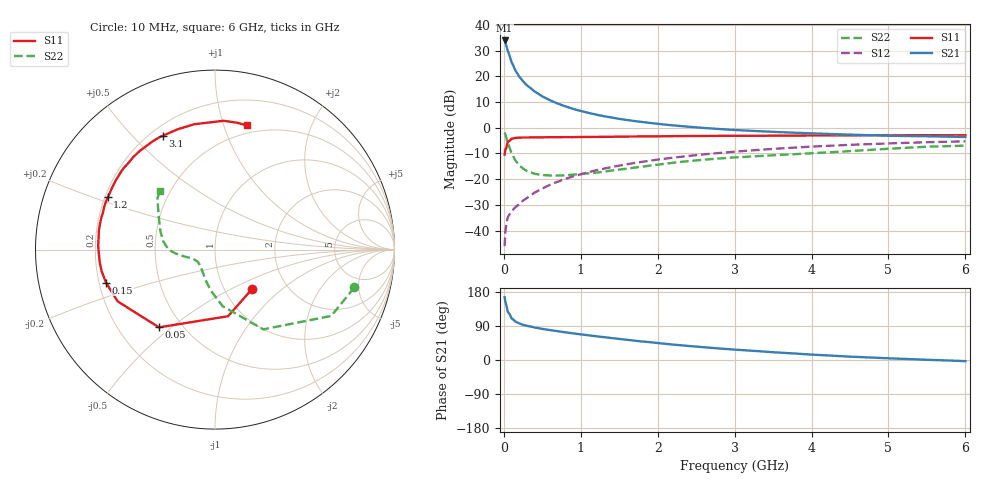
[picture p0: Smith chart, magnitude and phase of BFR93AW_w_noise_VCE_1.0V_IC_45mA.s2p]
! (c) 2017  Infineon Technologies AG, Munich
! Infineon Technologies  Discrete & RF Semiconductors
! BFR93AW
! VCE =  1.0 V,  IC =  45 mA
! Common Emitter S-Parameters:  Jan 2017
# GHz  S  MA  R  50
!  f  S11  S21  S12  S22
! GHz  MAG  ANG  MAG  ANG  MAG  ANG  MAG  ANG
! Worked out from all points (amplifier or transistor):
!   77 points, 10 MHz to 6 GHz, reference 50 ohm
!   highest |S21| = 33.9 dB at 10 MHz (marker M1)
!   |S21| within 3 dB of that: start of sweep to 40.96 MHz
!   unconditionally stable (mu >= 1): 207 MHz to end of sweep
!   at 130 MHz: K = 0.79, MSG = 27.6 dB, |S12| = -31.5 dB
!   at 2.2 GHz: K = 1.12, MAG = 4.2 dB, |S12| = -11.6 dB
!   at 6 GHz: K = 1.02, MAG = -0.1 dB, |S12| = -5.3 dB
!   lowest NFmin = 2.16 dB at 450 MHz
!   S11 on the Smith chart (normalised r, x): 10 MHz: 1.34, -0.65; 50 MHz: 0.37, -0.45; 150 MHz: 0.23, -0.14; 1.2 GHz: 0.21, +0.22; 3.1 GHz: 0.25, +0.61; 6 GHz: 0.42, +1.20
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0.01  0.3014 -46.7  49.73 165.6  0.005 71.9  0.8047 -15.2
0.02  0.3783 -78.9  46.07 153.1  0.0098 64.5  0.7457 -29.7
0.05  0.5341 -125.8  31.68 127.6  0.0181 52.5  0.5194 -58.8
0.1  0.6142 -152.0  18.8 109.6  0.0235 51.2  0.3181 -82.3
0.15  0.6345 -163.1  13.01 101.5  0.0286 53.8  0.2311 -95.5
0.2  0.6429 -169.2  9.906 96.5  0.0327 57.3  0.1869 -104.6
0.25  0.6462 -173.7  7.994 92.8  0.0384 59.9  0.1608 -111.9
0.3  0.6468 -177.0  6.68 90.2  0.0432 62.8  0.1444 -118.0
0.4  0.6512 178.3  5.066 85.7  0.0548 65.8  0.1278 -127.3
0.5  0.652 174.0  4.073 82.1  0.0656 67.4  0.1206 -134.3
0.6  0.6558 170.5  3.424 78.9  0.0781 68.2  0.1184 -139.8
0.7  0.6565 167.5  2.954 76.0  0.0895 68.9  0.1175 -143.9
0.8  0.6578 164.5  2.605 73.0  0.1019 69.1  0.1195 -147.4
0.9  0.6573 161.7  2.328 70.3  0.1133 68.2  0.1228 -150.2
1.1  0.6637 156.4  1.946 65.2  0.1372 67.2  0.1304 -155.3
1.2  0.665 154.0  1.801 62.7  0.149 66.5  0.1342 -157.4
1.6  0.6746 144.5  1.416 53.3  0.1954 62.9  0.1601 -164.5
2.1  0.6842 133.5  1.152 42.8  0.2512 57.3  0.2002 -171.5
3.1  0.6976 114.5  0.89 26.1  0.352 45.5  0.2703 176.5
4.1  0.7073 98.0  0.77 13.2  0.4372 33.5  0.3255 159.7
5.1  0.7184 84.9  0.696 3.7  0.5017 21.9  0.3982 142.9
6  0.7143 75.5  0.663 -3.0  0.5449 12.4  0.449 133.5
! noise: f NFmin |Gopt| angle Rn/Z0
0.45  2.16  0.24  -179  0.17
0.9  2.46  0.3  -169  0.17
1.9  3.55  0.53  -132  0.39
2.4  4.27  0.57  -122  0.72
